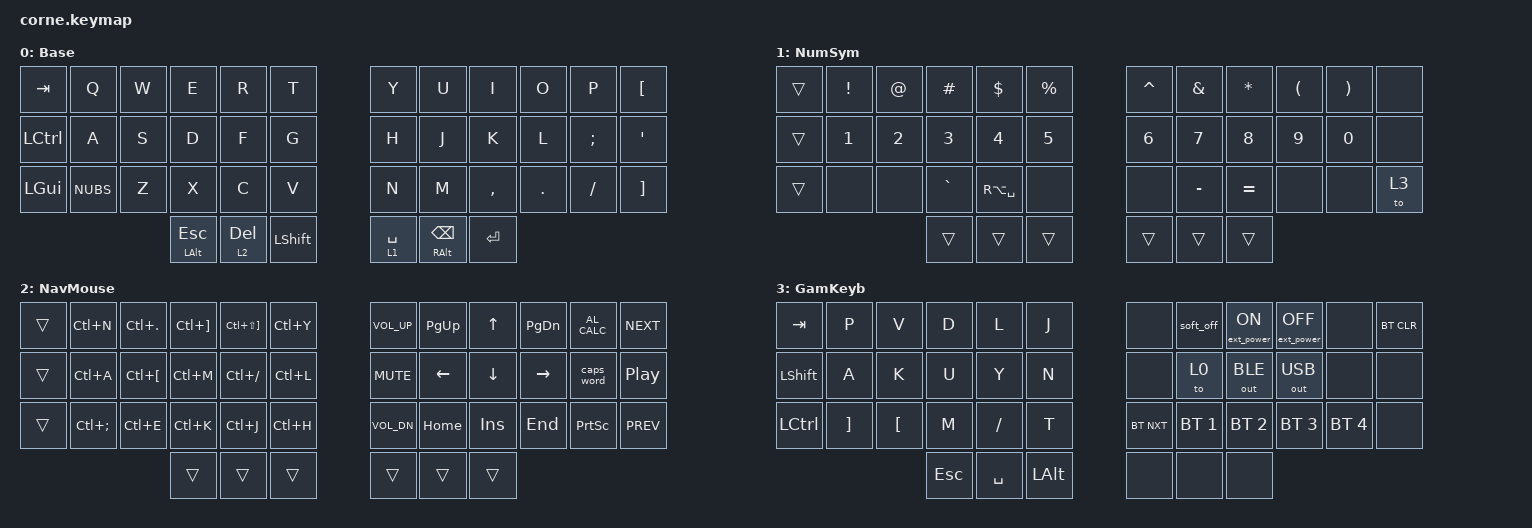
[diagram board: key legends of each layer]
#include <behaviors.dtsi>
#include <dt-bindings/zmk/bt.h>
#include <dt-bindings/zmk/ext_power.h>
#include <dt-bindings/zmk/keys.h>
#include <dt-bindings/zmk/outputs.h>

&caps_word { continue-list = <BACKSPACE DELETE N V M H Z>; };

/ {
    keymap {
        compatible = "zmk,keymap";

        Base {
            bindings = <
&kp TAB    &kp Q     &kp W  &kp E         &kp R      &kp T      &kp Y        &kp U          &kp I      &kp O       &kp P     &kp LBKT
&kp LCTRL  &kp A     &kp S  &kp D         &kp F      &kp G      &kp H        &kp J          &kp K      &kp L       &kp SEMI  &kp APOS
&kp LGUI   &kp NUBS  &kp Z  &kp X         &kp C      &kp V      &kp N        &kp M          &kp COMMA  &kp PERIOD  &kp FSLH  &kp RBKT
                            &mt LALT ESC  &lt 2 DEL  &kp LSHFT  &lt 1 SPACE  &mt RALT BSPC  &kp RET
            >;
        };

        NumSym {
            bindings = <
&trans  &kp EXCL  &kp AT  &kp POUND  &kp DLLR      &kp PERCENT  &kp CARET  &kp AMPS   &kp STAR   &kp LPAR  &kp RPAR  &none
&trans  &kp N1    &kp N2  &kp N3     &kp N4        &kp N5       &kp N6     &kp N7     &kp N8     &kp N9    &kp N0    &none
&trans  &none     &none   &kp GRAVE  &kp RA(SPACE) &none        &none      &kp MINUS  &kp EQUAL  &none     &none     &to 3
                          &trans     &trans        &trans       &trans     &trans     &trans
            >;
        };

        NavMouse {
            bindings = <
&trans  &kp LC(N)     &kp LC(PERIOD)  &kp LC(RBKT)  &kp LC(LS(RBKT))  &kp LC(Y)  &kp C_VOL_UP  &kp PG_UP  &kp UP    &kp PG_DN  &kp C_AL_CALC  &kp C_NEXT
&trans  &kp LC(A)     &kp LC(LBKT)    &kp LC(M)     &kp LC(FSLH)      &kp LC(L)  &kp C_MUTE    &kp LEFT   &kp DOWN  &kp RIGHT  &caps_word     &kp C_PP
&trans  &kp LC(SEMI)  &kp LC(E)       &kp LC(K)     &kp LC(J)         &kp LC(H)  &kp C_VOL_DN  &kp HOME   &kp INS   &kp END    &kp PSCRN      &kp C_PREV
                                      &trans        &trans            &trans     &trans        &trans     &trans
            >;
        };

        GamKeyb {
            bindings = <
&kp TAB    &kp P     &kp V     &kp D    &kp L      &kp J     &none       &soft_off     &ext_power EP_ON  &ext_power EP_OFF  &none         &bt BT_CLR
&kp LSHFT  &kp A     &kp K     &kp U    &kp Y      &kp N     &none       &to 0         &out OUT_BLE      &out OUT_USB       &none         &none
&kp LCTRL  &kp RBKT  &kp LBKT  &kp M    &kp FSLH   &kp T     &bt BT_NXT  &bt BT_SEL 1  &bt BT_SEL 2      &bt BT_SEL 3       &bt BT_SEL 4  &none
                               &kp ESC  &kp SPACE  &kp LALT  &none       &none              &none
            >;
        };
    };
};
